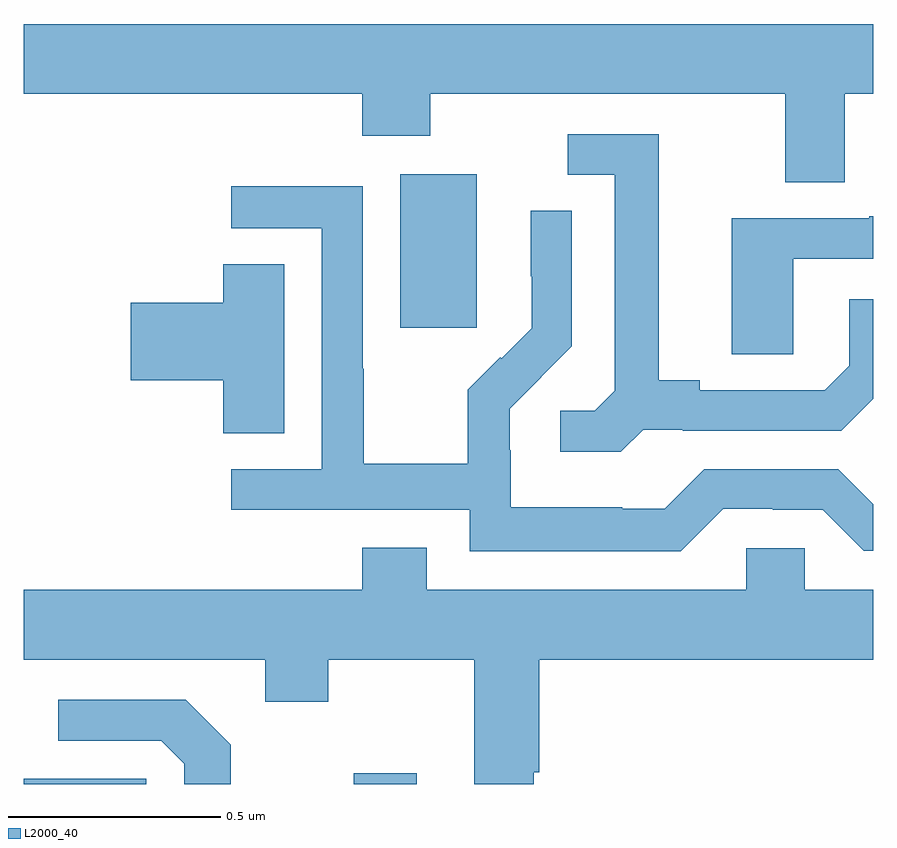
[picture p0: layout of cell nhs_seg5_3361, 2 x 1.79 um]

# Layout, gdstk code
import gdstk
lib = gdstk.Library(unit=1e-6, precision=1e-09)
def R(c, l, rs):  # rectangles x0, y0, x1, y1
    for r in rs: c.add(gdstk.rectangle(r[:2], r[2:], *l))
def P(c, l, *ps):  # polygons
    for p in ps: c.add(gdstk.Polygon(p, *l))
L2000_40 = (2000, 40)

nhs_seg5_3361 = lib.new_cell('nhs_seg5_3361')
R(nhs_seg5_3361, L2000_40, [(156,857.799,156.288,857.811), (156.777,857.799,156.925,857.824), (156.887,858.873,157.066,859.234)])
P(nhs_seg5_3361, L2000_40, [(157.933,859.424),(158,859.424),(158,859.588),(156,859.588),(156,859.424),(156.797,859.424),(156.797,859.325),(156.957,859.325),(156.957,859.424),(157.793,859.424),(157.793,859.216),(157.933,859.216)],
  [(157.458,858.633),(157.552,858.633),(157.552,858.63),(157.924,858.63),(158,858.706),(158,858.94),(157.943,858.94),(157.943,858.783),(157.886,858.726),(157.591,858.726),(157.591,858.749),(157.495,858.749),(157.495,859.329),(157.281,859.329),(157.281,859.233),(157.391,859.233),(157.391,858.725),(157.344,858.678),(157.263,858.678),(157.263,858.581),(157.406,858.581)],
  [(157.647,858.447),(157.763,858.447),(157.763,858.444),(157.881,858.444),(157.977,858.348),(158,858.348),(158,858.457),(157.917,858.54),(157.602,858.54),(157.509,858.447),(157.409,858.447),(157.409,858.451),(157.146,858.451),(157.146,858.585),(157.144,858.585),(157.144,858.682),(157.218,858.756),(157.217,858.757),(157.29,858.83),(157.29,859.148),(157.194,859.148),(157.194,858.994),(157.196,858.994),(157.196,858.872),(157.125,858.801),(157.122,858.804),(157.045,858.727),(157.045,858.553),(156.801,858.553),(156.801,858.776),(156.798,858.776),(156.798,859.206),(156.489,859.206),(156.489,859.107),(156.702,859.107),(156.702,858.54),(156.489,858.54),(156.489,858.444),(157.05,858.444),(157.05,858.347),(157.547,858.347)],
  [(157.812,859.035),(158,859.035),(158,859.135),(157.991,859.135),(157.991,859.131),(157.667,859.131),(157.667,858.811),(157.812,858.811)],
  [(156.613,859.022),(156.47,859.022),(156.47,858.932),(156.252,858.932),(156.252,858.749),(156.47,858.749),(156.47,858.625),(156.613,858.625)],
  [(156.797,858.355),(156.797,858.256),(156,858.256),(156,858.092),(156.569,858.092),(156.569,857.993),(156.717,857.993),(156.717,858.092),(157.061,858.092),(157.061,857.799),(157.201,857.799),(157.201,857.827),(157.214,857.827),(157.214,858.092),(158,858.092),(158,858.256),(157.839,858.256),(157.839,858.354),(157.701,858.354),(157.701,858.256),(156.949,858.256),(156.949,858.355)],
  [(156.487,857.891),(156.381,857.997),(156.081,857.997),(156.081,857.901),(156.324,857.901),(156.378,857.847),(156.378,857.799),(156.487,857.799)])

lib.write_gds('nhs_seg5_3361.gds')
